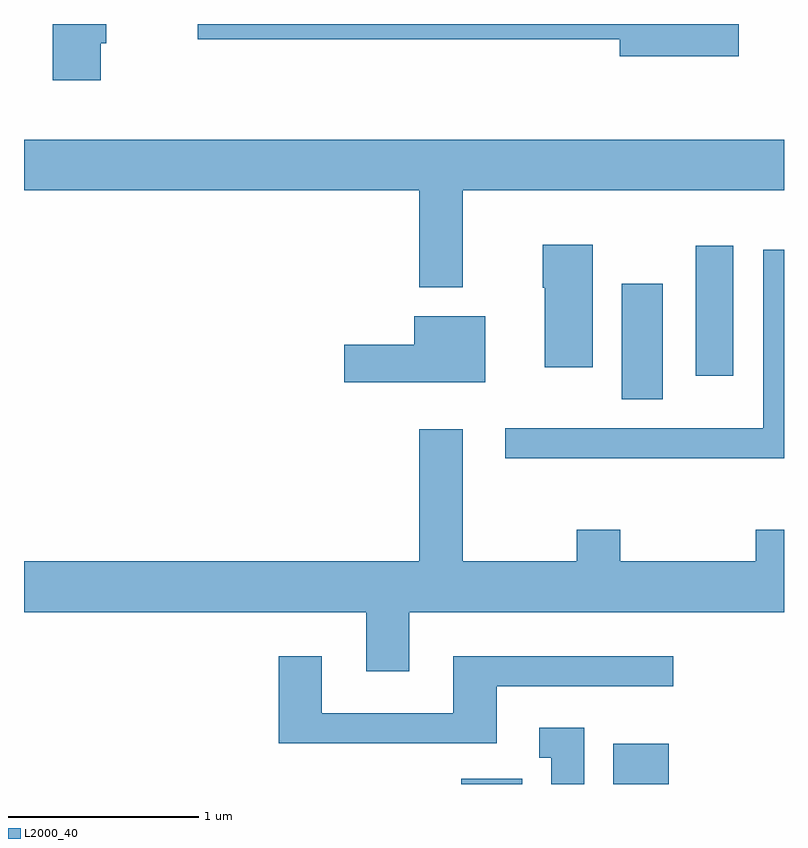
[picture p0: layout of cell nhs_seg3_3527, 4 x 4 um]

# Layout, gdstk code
import gdstk
lib = gdstk.Library(unit=1e-6, precision=1e-09)
def R(c, l, rs):  # rectangles x0, y0, x1, y1
    for r in rs: c.add(gdstk.rectangle(r[:2], r[2:], *l))
def P(c, l, *ps):  # polygons
    for p in ps: c.add(gdstk.Polygon(p, *l))
L2000_40 = (2000, 40)

nhs_seg3_3527 = lib.new_cell('nhs_seg3_3527')
R(nhs_seg3_3527, L2000_40, [(289.911,1233.892,290.234,1233.919), (290.711,1233.892,291.004,1234.104), (290.756,1235.916,290.974,1236.524), (291.146,1236.041,291.344,1236.724)])
P(nhs_seg3_3527, L2000_40, [(288.014,1237.791),(288.044,1237.791),(288.044,1237.892),(287.761,1237.892),(287.761,1237.596),(288.014,1237.596)],
  [(291.374,1237.892),(288.526,1237.892),(288.526,1237.811),(290.746,1237.811),(290.746,1237.721),(291.374,1237.721)],
  [(289.919,1237.016),(291.611,1237.016),(291.611,1237.284),(287.611,1237.284),(287.611,1237.016),(289.691,1237.016),(289.691,1236.506),(289.919,1236.506)],
  [(290.604,1236.729),(290.341,1236.729),(290.341,1236.505),(290.351,1236.505),(290.351,1236.086),(290.604,1236.086)],
  [(291.611,1236.703),(291.501,1236.703),(291.501,1235.764),(290.143,1235.764),(290.143,1235.606),(291.611,1235.606)],
  [(290.039,1236.354),(289.666,1236.354),(289.666,1236.204),(289.296,1236.204),(289.296,1236.006),(290.039,1236.006)],
  [(289.639,1234.796),(291.611,1234.796),(291.611,1235.229),(291.461,1235.229),(291.461,1235.064),(290.749,1235.064),(290.749,1235.229),(290.521,1235.229),(290.521,1235.064),(289.919,1235.064),(289.919,1235.759),(289.691,1235.759),(289.691,1235.064),(287.611,1235.064),(287.611,1234.796),(289.411,1234.796),(289.411,1234.486),(289.639,1234.486)],
  [(290.099,1234.406),(291.028,1234.406),(291.028,1234.564),(289.871,1234.564),(289.871,1234.264),(289.179,1234.264),(289.179,1234.564),(288.951,1234.564),(288.951,1234.106),(290.099,1234.106)],
  [(290.559,1234.189),(290.323,1234.189),(290.323,1234.031),(290.386,1234.031),(290.386,1233.892),(290.559,1233.892)])

lib.write_gds('nhs_seg3_3527.gds')
